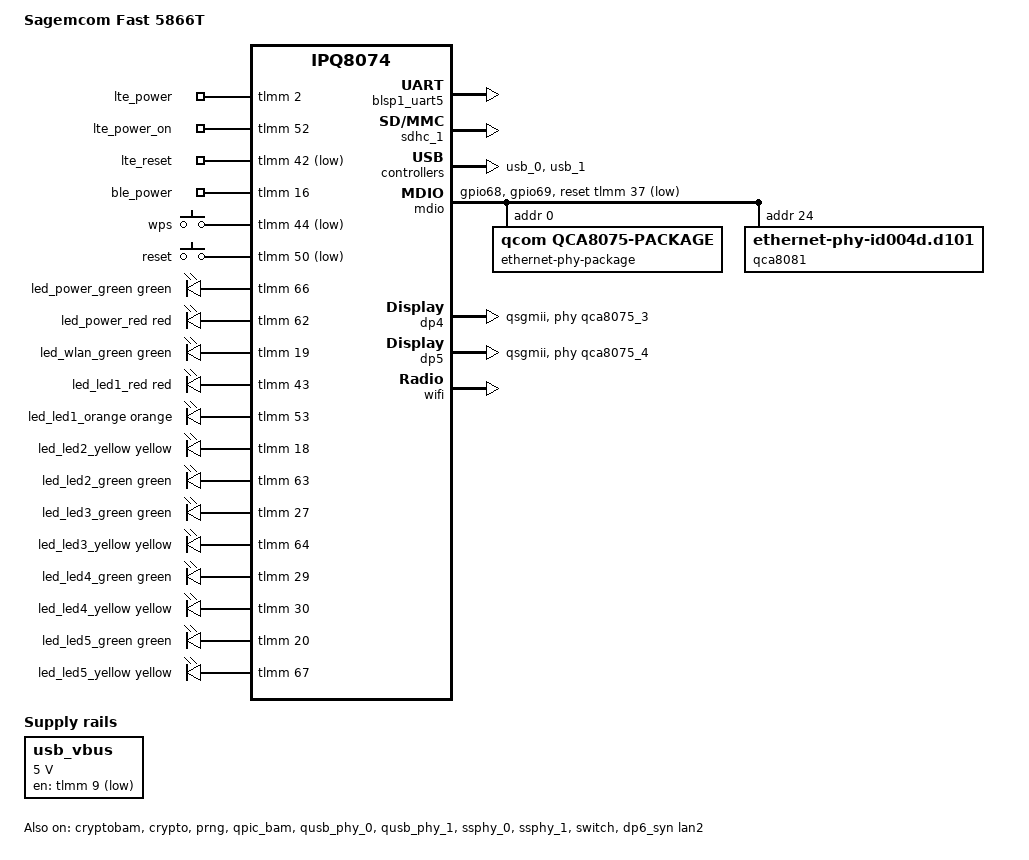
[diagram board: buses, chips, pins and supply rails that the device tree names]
// SPDX-License-Identifier: GPL-2.0-or-later OR MIT
/* Copyright (c) 2023, Chukun Pan <amadeus@jmu.edu.cn> */

/dts-v1/;

#include "ipq8074.dtsi"
#include "ipq8074-hk-cpu.dtsi"
#include "ipq8074-ess.dtsi"
#include <dt-bindings/gpio/gpio.h>
#include <dt-bindings/input/input.h>
#include <dt-bindings/leds/common.h>

/ {
	model = "Sagemcom Fast 5866T";
	compatible = "sagemcom,5866T", "qcom,ipq8074";

	aliases {
		led-boot = &led_power_green;
		led-failsafe = &led_power_red;
		led-running = &led_power_green;
		led-upgrade = &led_power_red;
		serial0 = &blsp1_uart5;
		/*
		 * Aliases as required by u-boot
		 * to patch MAC addresses
		 */
		ethernet3 = &dp4;
		ethernet4 = &dp5;
		ethernet5 = &dp6;
		label-mac-device = &dp4;
	};

	chosen {
		stdout-path = "serial0:115200n8";
		bootargs-append = " swiotlb=1 coherent_pool=2M";
	};

	gpio-export {
		compatible = "gpio-export";

		lte-power {
			gpio-export,name = "lte_power";
			gpio-export,output = <1>;
			gpios = <&tlmm 2 GPIO_ACTIVE_HIGH>;
		};

		lte-power-on {
			gpio-export,name = "lte_power_on";
			gpio-export,output = <1>;
			gpios = <&tlmm 52 GPIO_ACTIVE_HIGH>;
		};

		lte-reset {
			gpio-export,name = "lte_reset";
			gpio-export,output = <0>;
			gpios = <&tlmm 42 GPIO_ACTIVE_LOW>;
		};

		ble-power {
			gpio-export,name = "ble_power";
			gpio-export,output = <1>;
			gpios = <&tlmm 16 GPIO_ACTIVE_HIGH>;
		};
	};

	keys {
		compatible = "gpio-keys";

		wps {
			label = "wps";
			linux,code = <KEY_WPS_BUTTON>;
			gpios = <&tlmm 44 GPIO_ACTIVE_LOW>;
		};

		reset {
			label = "reset";
			linux,code = <KEY_RESTART>;
			gpios = <&tlmm 50 GPIO_ACTIVE_LOW>;
		};
	};

	leds {
		compatible = "gpio-leds";

		led_power_green: power_green {
			function = LED_FUNCTION_POWER;
			color = <LED_COLOR_ID_GREEN>;
			gpios = <&tlmm 66 GPIO_ACTIVE_HIGH>;
		};

		led_power_red: power_red {
			function = LED_FUNCTION_POWER;
			color = <LED_COLOR_ID_RED>;
			gpios = <&tlmm 62 GPIO_ACTIVE_HIGH>;
		};

		led_wlan_green: wlan_green {
			function = LED_FUNCTION_WLAN;
			color = <LED_COLOR_ID_GREEN>;
			gpios = <&tlmm 19 GPIO_ACTIVE_HIGH>;
		};

		led_led1_red: led1_red {
			function = "status";
			color = <LED_COLOR_ID_RED>;
			gpios = <&tlmm 43 GPIO_ACTIVE_HIGH>; // LED1_R
		};

		led_led1_orange: led1_orange {
			function = "status";
			color = <LED_COLOR_ID_ORANGE>;
			gpios = <&tlmm 53 GPIO_ACTIVE_HIGH>; // LED1_O
		};

		led_led2_yellow: led2_yellow {
			function = "status";
			color = <LED_COLOR_ID_YELLOW>;
			gpios = <&tlmm 18 GPIO_ACTIVE_HIGH>; // LED2_Y
		};

		led_led2_green: led2_green {
			function = "status";
			color = <LED_COLOR_ID_GREEN>;
			gpios = <&tlmm 63 GPIO_ACTIVE_HIGH>; // LED2_G
		};

		led_led3_green: led3_green {
			function = "status";
			color = <LED_COLOR_ID_GREEN>;
			gpios = <&tlmm 27 GPIO_ACTIVE_HIGH>; // LED3_G
		};

		led_led3_yellow: led3_yellow {
			function = "status";
			color = <LED_COLOR_ID_YELLOW>;
			gpios = <&tlmm 64 GPIO_ACTIVE_HIGH>; // LED3_Y
		};

		led_led4_green: led4_green {
			function = "status";
			color = <LED_COLOR_ID_GREEN>;
			gpios = <&tlmm 29 GPIO_ACTIVE_HIGH>; // LED4_G
		};

		led_led4_yellow: led4_yellow {
			function = "status";
			color = <LED_COLOR_ID_YELLOW>;
			gpios = <&tlmm 30 GPIO_ACTIVE_HIGH>; // LED4_Y
		};

		led_led5_green: led5_green {
			function = "status";
			color = <LED_COLOR_ID_GREEN>;
			gpios = <&tlmm 20 GPIO_ACTIVE_HIGH>; // LED5_G
		};

		led_led5_yellow: led5_yellow {
			function = "status";
			color = <LED_COLOR_ID_YELLOW>;
			gpios = <&tlmm 67 GPIO_ACTIVE_HIGH>; // LED5_Y
		};
	};

	usb_vbus: regulator-usb-vbus {
		compatible = "regulator-fixed";
		regulator-name = "usb_vbus";
		regulator-min-microvolt = <5000000>;
		regulator-max-microvolt = <5000000>;
		gpio = <&tlmm 9 GPIO_ACTIVE_HIGH>;
		regulator-boot-on;
	};
};

&tlmm {
	mdio_pins: mdio-pins {
		mdc {
			pins = "gpio68";
			function = "mdc";
			drive-strength = <8>;
			bias-pull-up;
		};

		mdio {
			pins = "gpio69";
			function = "mdio";
			drive-strength = <8>;
			bias-pull-up;
		};
	};
};

&blsp1_uart5 {
	status = "okay";
};

&cryptobam {
	status = "okay";
};

&crypto {
	status = "okay";
};

&prng {
	status = "okay";
};

&qpic_bam {
	status = "okay";
};

&sdhc_1 {
	/* Following same rule as QNAP 301W
	 * the emmc has a problem with the hs400 > hs200 speed switch.
	 * Therefore remove the mmc-hs400-1_8v property
	*/
	/delete-property/ mmc-hs400-1_8v;
	mmc-hs200-1_8v;
	mmc-ddr-1_8v;
	vqmmc-supply = <&l11>;
	status = "okay";

	partitions {
		compatible = "fixed-partitions";
		#address-cells = <1>;
		#size-cells = <1>;

		partition@0 {
			label = "sbl1";
			reg = <0x00008800 0x00080000>;  // 512 KB
			read-only;
		};

		partition@2 {
			label = "bootconfig";
			reg = <0x00010800 0x00040000>;  // 256 KB
			read-only;
		};

		partition@3 {
			label = "bootconfig1";
			reg = <0x00018800 0x00040000>;  // 256 KB
			read-only;
		};

		partition@4 {
			label = "qsee";
			reg = <0x00020800 0x00180000>;  // 1.5 MB
		};

		partition@5 {
			label = "qsee_1";
			reg = <0x00038800 0x00180000>;  // 1.5 MB
		};

		partition@6 {
			label = "devcfg";
			reg = <0x00050800 0x00040000>;  // 256 KB
		};

		partition@7 {
			label = "devcfg_1";
			reg = <0x00058800 0x00040000>;  // 256 KB
		};

		partition@8 {
			label = "apdp";
			reg = <0x00060800 0x00040000>;  // 256 KB
		};

		partition@9 {
			label = "apdp_1";
			reg = <0x00068800 0x00040000>;  // 256 KB
		};

		partition@10 {
			label = "rpm";
			reg = <0x00070800 0x00040000>;  // 256 KB
		};

		partition@11 {
			label = "rpm_1";
			reg = <0x00078800 0x00040000>;  // 256 KB
		};

		partition@12 {
			label = "cdt";
			reg = <0x00080800 0x00040000>;  // 256 KB
		};

		partition@13 {
			label = "cdt_1";
			reg = <0x00088800 0x00040000>;  // 256 KB
		};

		partition@14 {
			label = "appsblenv";
			reg = <0x00090800 0x000a0000>;  // 640 KB
		};

		partition@15 {
			label = "appsbl";
			reg = <0x0009a800 0x000a0000>;  // 640 KB
		};

		partition@16 {
			label = "appsbl_1";
			reg = <0x000a4800 0x000a0000>;  // 640 KB
		};

		partition@17 {
			label = "art";
			reg = <0x000ae800 0x00040000>;  // 256 KB
			read-only;
		};

		partition@18 {
			label = "hlos";
			reg = <0x000b6800 0x00600000>;  // 6 MB
		};

		partition@19 {
			label = "rootfs";
			reg = <0x00116800 0x12C00000>;  // 300 MB
		};

		partition@20 {
			label = "wififw";
			reg = <0x013d6800 0x00400000>;  // 4 MB
		};

		partition@21 {
			label = "ethphyfw";
			reg = <0x01416800 0x00080000>;  // 512 KB
		};

		partition@22 {
			label = "rootfs_data";
			reg = <0x014e2000 0x196000000>; // ~6.5 GB
		};
	};
};

&qusb_phy_0 {
	status = "okay";

	vdd-supply = <&usb_vbus>;
};

&qusb_phy_1 {
	status = "okay";

	vdd-supply = <&usb_vbus>;
};

&ssphy_0 {
	status = "okay";
};

&ssphy_1 {
	status = "okay";
};

&usb_0 {
	status = "okay";
};

&usb_1 {
	status = "okay";
};

&mdio {
	status = "okay";

	pinctrl-0 = <&mdio_pins>;
	pinctrl-names = "default";
	reset-gpios = <&tlmm 37 GPIO_ACTIVE_LOW>;

	ethernet-phy-package@0 {
		compatible = "qcom,qca8075-package";
		#address-cells = <1>;
		#size-cells = <0>;
		reg = <0>;

		qcom,package-mode = "qsgmii";

		qca8075_3: ethernet-phy@3 {
			compatible = "ethernet-phy-ieee802.3-c22";
			reg = <3>;
		};

		qca8075_4: ethernet-phy@4 {
			compatible = "ethernet-phy-ieee802.3-c22";
			reg = <4>;
		};
	};

	qca8081: ethernet-phy@24 {
		compatible = "ethernet-phy-id004d.d101";
		reg = <24>;
		reset-deassert-us = <10000>;
	};
};

&switch {
	status = "okay";

	switch_lan_bmp = <(ESS_PORT4 | ESS_PORT5)>; /* lan port bitmap */
	switch_wan_bmp = <ESS_PORT6>; /* wan port bitmap */
	switch_mac_mode = <MAC_MODE_QSGMII>; /* mac mode for uniphy instance0*/

	qcom,port_phyinfo {
		port@1 {
			port_id = <1>;
			phy_address = <3>;
		};
		port@2 {
			port_id = <2>;
			phy_address = <4>;
		};
		port@6 {
			port_id = <6>;
			phy_address = <24>;
			port_mac_sel = "QGMAC_PORT";
		};
	};
};

&edma {
	status = "okay";
};

&dp4 {
	status = "okay";
	phy-mode = "qsgmii";
	phy-handle = <&qca8075_3>;
	label = "lan1";
};

&dp5 {
	status = "okay";
	phy-mode = "qsgmii";
	phy-handle = <&qca8075_4>;
	label = "wan";
};

&dp6_syn {
	status = "okay";
	phy-handle = <&qca8081>;
	label = "lan2";
};

&wifi {
	status = "okay";

	qcom,ath11k-calibration-variant = "Sagemcom-5866T";
};
